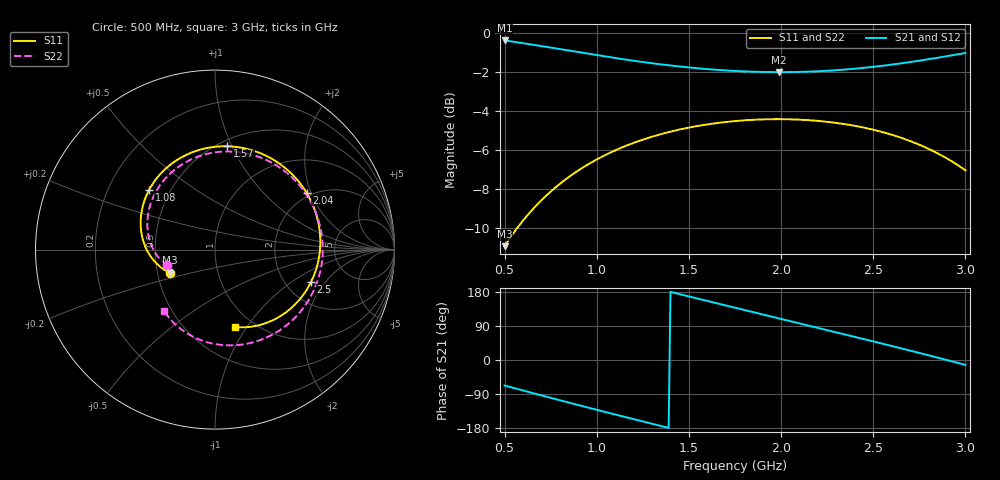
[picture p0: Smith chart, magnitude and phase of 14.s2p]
!freq-unit  param-type  data-format  keyword  impedance-ohms
# GHZ  S  RI  R  50
!Freq  ReS11  ImS11  ReS21  ImS21  ReS12  ImS12  ReS22  ImS22
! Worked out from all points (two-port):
!   251 points, 500 MHz to 3 GHz, reference 50 ohm
!   highest |S21| = -0.39 dB at 500 MHz (marker M1); lowest = -2.0 dB at 1.99 GHz (marker M2)
!   |S21| within 3 dB of the highest: start of sweep to end of sweep
!   lowest |S11| = -10.9 dB at 500 MHz (marker M3), VSWR 1.79, Z = 29 - j8.07 ohm
!   |S11| at or under -10 dB: start of sweep to 568.7 MHz
!   |S22| runs from -10.9 to -4.4 dB; largest |S21 - S12| = 0
!   S11 on the Smith chart (normalised r, x): 500 MHz: 0.58, -0.16; 1.08 GHz: 0.38, +0.33; 1.57 GHz: 0.55, +0.96; 2.04 GHz: 1.88, +1.86; 2.5 GHz: 2.74, -1.45; 3 GHz: 0.82, -0.88
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0.5  -0.2533 -0.1282  0.3677 -0.883  0.3677 -0.883  -0.2696 -0.0886
0.6  -0.3196 -0.0833  0.1551 -0.9284  0.1551 -0.9284  -0.3293 -0.0241
0.7  -0.372 -0.0165  -0.0562 -0.9234  -0.0562 -0.9234  -0.3669 0.0626
0.81  -0.4068 0.0758  -0.2739 -0.8648  -0.2739 -0.8648  -0.3756 0.1731
0.92  -0.413 0.1792  -0.4644 -0.7586  -0.4644 -0.7586  -0.3465 0.2871
1.08  -0.3682 0.3306  -0.6761 -0.5397  -0.6761 -0.5397  -0.2398 0.4326
1.21  -0.288 0.4383  -0.7819 -0.3262  -0.7819 -0.3262  -0.108 0.513
1.34  -0.1761 0.5197  -0.8255 -0.0996  -0.8255 -0.0996  0.0482 0.5463
1.45  -0.0639 0.5617  -0.8151 0.0906  -0.8151 0.0906  0.1862 0.5334
1.57  0.0682 0.5757  -0.7577 0.2857  -0.7577 0.2857  0.3291 0.4768
1.75  0.265 0.5319  -0.5938 0.5343  -0.5938 0.5343  0.5009 0.319
1.87  0.3819 0.462  -0.4429 0.6599  -0.4429 0.6599  0.5719 0.1781
1.99  0.4778 0.3645  -0.2679 0.7467  -0.2679 0.7467  0.6001 0.0224
2.04  0.5099 0.3173  -0.1899 0.7704  -0.1899 0.7704  0.5985 -0.0437
2.17  0.5683 0.1813  0.0206 0.7961  0.0206 0.7961  0.5578 -0.21
2.33  0.5851 0.00152  0.2811 0.7536  0.2811 0.7536  0.4413 -0.3835
2.5  0.535 -0.1808  0.535 0.6193  0.535 0.6193  0.2574 -0.502
2.59  0.4823 -0.2644  0.6501 0.513  0.6501 0.513  0.1462 -0.5297
2.7  0.3977 -0.3476  0.7642 0.3532  0.7642 0.3532  0.0087 -0.5276
2.81  0.2969 -0.4045  0.8414 0.1658  0.8414 0.1658  -0.1192 -0.4869
2.91  0.198 -0.4301  0.873 -0.0221  0.873 -0.0221  -0.2172 -0.4202
3  0.1089 -0.4308  0.8656 -0.199  0.8656 -0.199  -0.2838 -0.3413
